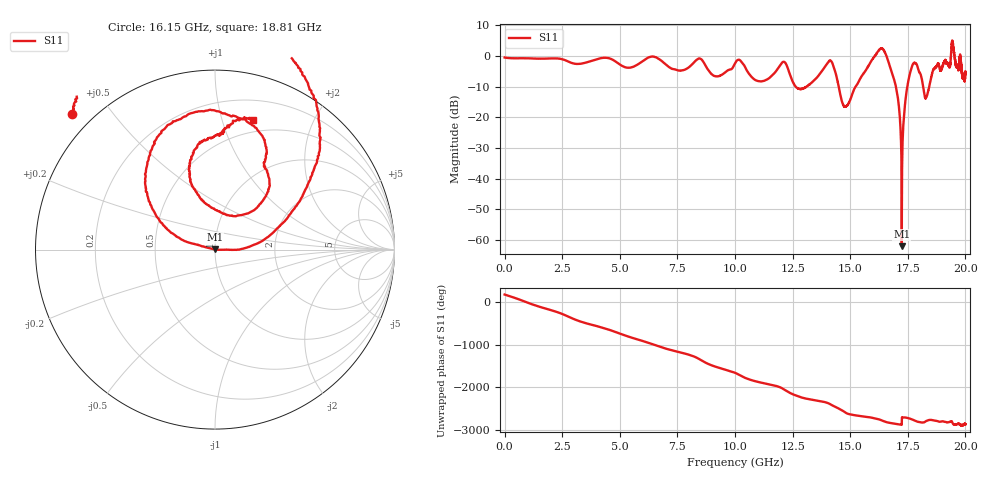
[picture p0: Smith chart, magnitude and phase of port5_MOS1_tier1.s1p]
! Created with skrf 1.8.0 (http://scikit-rf.org).
# GHz S RI R 50.0
!freq ReS11 ImS11
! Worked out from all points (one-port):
!   10001 points, 1 MHz to 20 GHz, reference 50 ohm
!   lowest |S11| = -62.0 dB at 17.24 GHz (marker M1), VSWR 1.00, Z = 50 + j0.0701 ohm
!   |S11| at or under -10 dB: 12.63 GHz to 13.11 GHz (473.6 MHz wide, 3.68 % of centre); 14.5 GHz to 15.23 GHz (732.3 MHz wide, 4.93 % of centre); 16.98 GHz to 17.48 GHz (494.9 MHz wide, 2.87 % of centre) (the widest 3 of 4)
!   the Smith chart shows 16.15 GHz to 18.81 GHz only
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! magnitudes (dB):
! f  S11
! 1 MHz  -0.5
! 2.501 GHz  -1.1
! 5.001 GHz  -2.8
! 6.443 GHz  -0.2
! 7.501 GHz  -4.7
! 8.469 GHz  -0.8
! 9.251 GHz  -6.6
! 10 GHz  -2.4
! 11.11 GHz  -8.3
! 12.12 GHz  -1.9
! 12.5 GHz  -8.3
! 13.04 GHz  -10.3
! 14.14 GHz  -1.5
! 14.7 GHz  -16.0
! 15 GHz  -14.3
! 16.41 GHz  2.3
! 16.97 GHz  -9.6
! 17.24 GHz  -62.0
! 17.31 GHz  -22.5
! 17.38 GHz  -15.7
! 17.5 GHz  -9.1
! 17.82 GHz  -2.4
! 18.31 GHz  -13.4
! 18.65 GHz  -4.1
! 19.27 GHz  -3.1
! 19.45 GHz  3.7
! 19.63 GHz  -3.5
! 20 GHz  -5.3
